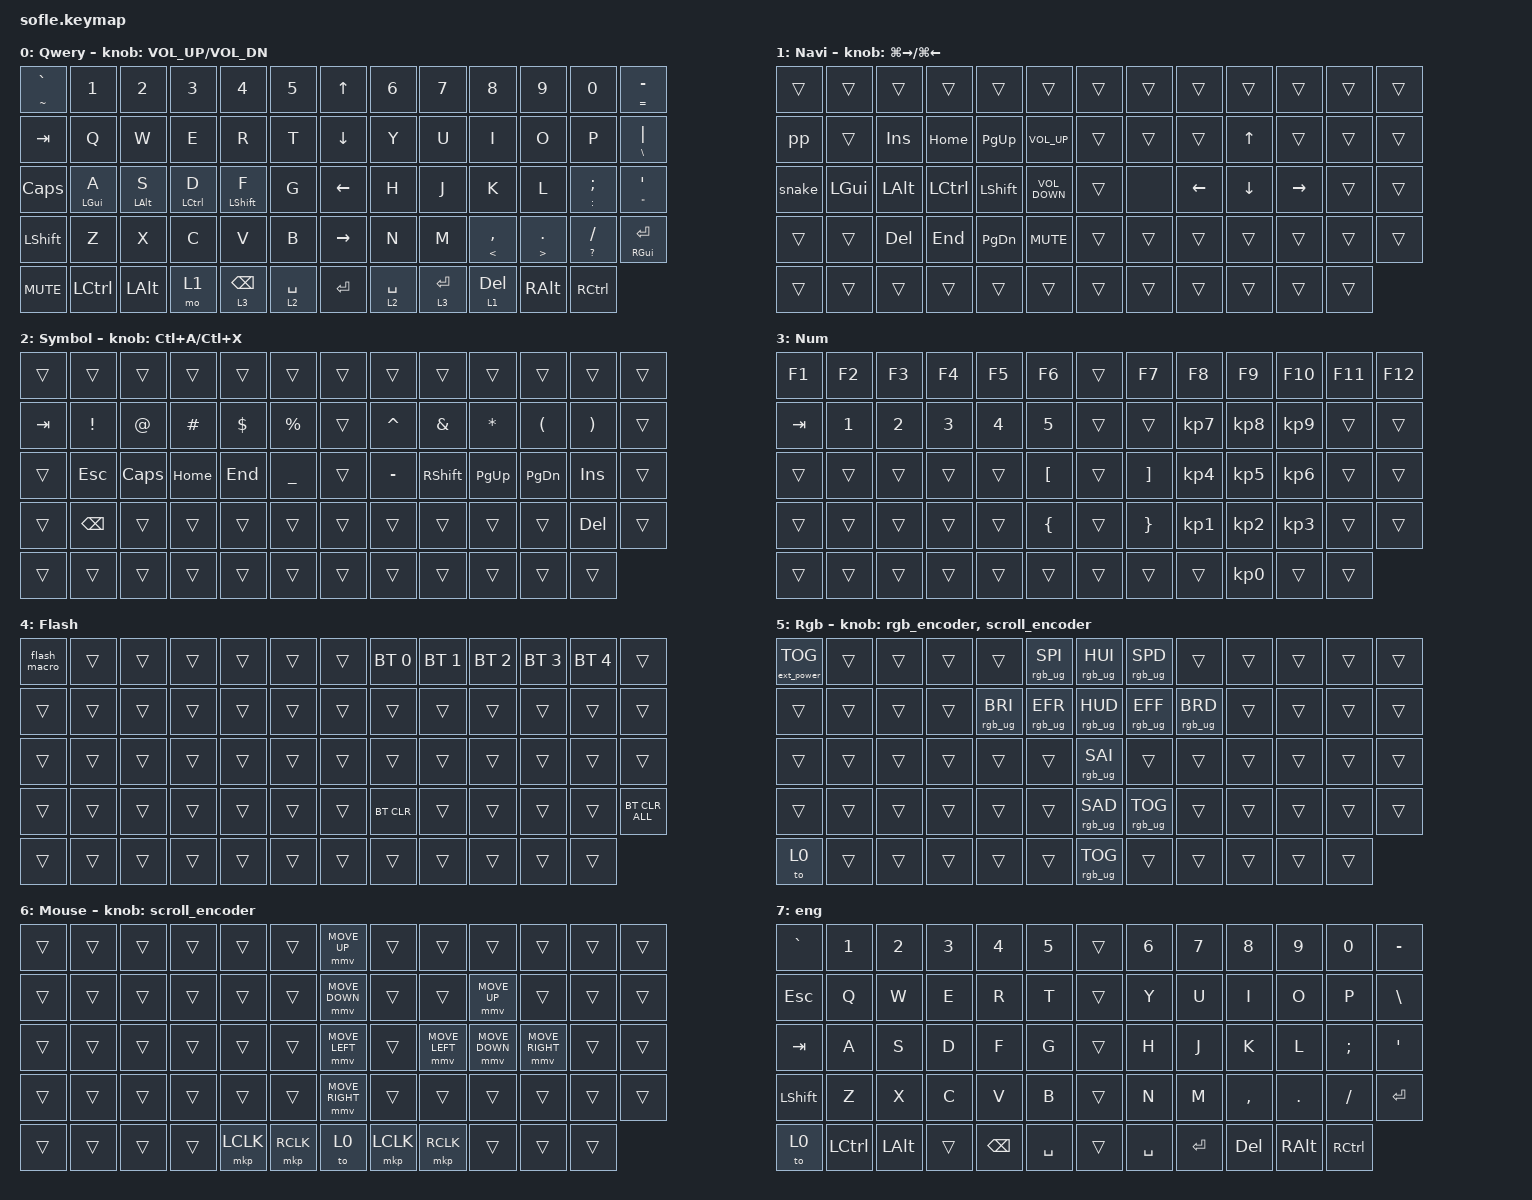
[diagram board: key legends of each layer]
#define ZMK_MOUSE_DEFAULT_SCRL_VAL 35 // 10

#include <behaviors/mouse_keys.dtsi>
#include <behaviors.dtsi>
#include <dt-bindings/zmk/bt.h>
#include <dt-bindings/zmk/ext_power.h>
#include <dt-bindings/zmk/keys.h>
#include <dt-bindings/zmk/mouse.h>
#include <dt-bindings/zmk/rgb.h>

&msc {
    acceleration-exponent = <0>;      // 0
    time-to-max-speed-ms = <0>;       // 300
    delay-ms = <0>;                   // 0
};

&mmv {
    time-to-max-speed-ms = <400>;
    acceleration-exponent = <1>;
};

/ {
    macros {
        flash_macro: flash_macro {
            compatible = "zmk,behavior-macro";
            #binding-cells = <0>;
            bindings = <&bootloader>;
        };

        pp: pp {
            compatible = "zmk,behavior-macro";
            #binding-cells = <0>;
            bindings = <&none &kp LS(P) &kp A &kp DLLR &kp DLLR &kp W &kp N0 &kp R &kp D &kp N3 &kp N4 &kp N5 &kp N6 &kp RET>;
            label = "PP";
        };

        snake: snake {
            compatible = "zmk,behavior-macro";
            #binding-cells = <0>;
            bindings = <&none &kp G &kp K &kp N6 &kp S &kp M &kp N3 &kp J &kp SEMI &kp N6 &kp RET>;
            label = "SNAKE";
        };

        caleft: caleft {
            compatible = "zmk,behavior-macro";
            #binding-cells = <0>;
            bindings = <&kp LC(LA(LEFT))>;
            label = "CALEFT";
        };

        caright: caright {
            compatible = "zmk,behavior-macro";
            #binding-cells = <0>;
            bindings = <&kp LC(LA(RIGHT))>;
            label = "CARIGHT";
        };

        sworkspaceright: sworkspaceright {
            compatible = "zmk,behavior-macro";
            #binding-cells = <0>;
            bindings = <&kp LG(RIGHT)>;
            label = "SWORKSPACERIGHT";
        };

        sworkspaceleft: sworkspaceleft {
            compatible = "zmk,behavior-macro";
            #binding-cells = <0>;
            bindings = <&kp LG(LEFT)>;
            label = "SWORKSPACELEFT";
        };
    };

    behaviors {
        hm: homerow_mods {
            compatible = "zmk,behavior-hold-tap";
            label = "HOMEROW_MODS";
            bindings = <&kp>, <&kp>;

            #binding-cells = <2>;
            tapping-term-ms = <250>;
            quick-tap-ms = <100>;
            flavor = "tap-preferred";
            require-prior-idle-ms = <100>;
        };

        ltq: ltq {
            compatible = "zmk,behavior-hold-tap";
            label = "LTQ";
            bindings = <&mo>, <&kp>;

            #binding-cells = <2>;
            tapping-term-ms = <200>;
            quick-tap-ms = <100>;
            require-prior-idle-ms = <100>;
        };

        as: auto_shift {
            compatible = "zmk,behavior-hold-tap";
            label = "AUTO_SHIFT";
            bindings = <&kp>, <&kp>;

            #binding-cells = <2>;
            tapping-term-ms = <180>;
            quick-tap-ms = <50>;
            require-prior-idle-ms = <200>;
            flavor = "tap-preferred";
        };

        rgb_encoder: rgb_encoder {
            compatible = "zmk,behavior-sensor-rotate";
            label = "RGB_ENCODER";
            #sensor-binding-cells = <0>;
            bindings = <&rgb_ug RGB_BRI>, <&rgb_ug RGB_BRD>;
        };

        scroll_encoder: scroll_encoder {
            compatible = "zmk,behavior-sensor-rotate";
            #sensor-binding-cells = <0>;
            bindings = <&msc SCRL_UP>, <&msc SCRL_DOWN>;

            tap-ms = <30>;
        };
    };

    combos {
        compatible = "zmk,combos";

        esc {
            bindings = <&kp ESCAPE>;
            key-positions = <0 1>;
        };

        paste {
            bindings = <&kp LS(INSERT)>;
            key-positions = <42 43>;
        };

        copy {
            bindings = <&kp LC(C)>;
            key-positions = <42 41>;
        };

        ctrl+alt+right {
            bindings = <&caright>;
            key-positions = <35 36>;
        };

        ctrl+alt+left {
            bindings = <&caleft>;
            key-positions = <35 34>;
        };

        RGB {
            bindings = <&to 5>;
            key-positions = <12 11 10>;
        };

        changetoeng {
            bindings = <&to 7>;
            key-positions = <27 28 29>;
        };

        winright {
            bindings = <&sworkspaceright>;
            key-positions = <35 34 36>;
        };

        winleft {
            bindings = <&sworkspaceleft>;
            key-positions = <35 34 33>;
        };
    };

    keymap {
        compatible = "zmk,keymap";

        Qwery {
            bindings = <
&as TILDE GRAVE  &kp N1          &kp N2          &kp N3              &kp N4            &kp N5          &kp UP_ARROW     &kp N6        &kp N7        &kp N8               &kp N9                   &kp N0               &as EQUAL MINUS
&kp TAB          &kp Q           &kp W           &kp E               &kp R             &kp T           &kp DOWN_ARROW   &kp Y         &kp U         &kp I                &kp O                    &kp P                &as BACKSLASH PIPE
&kp CAPSLOCK     &hm LEFT_GUI A  &hm LEFT_ALT S  &hm LEFT_CONTROL D  &hm LEFT_SHIFT F  &kp G           &kp LEFT_ARROW   &kp H         &kp J         &kp K                &kp L                    &as COLON SEMICOLON  &as DOUBLE_QUOTES SQT
&kp LSHFT        &kp Z           &kp X           &kp C               &kp V             &kp B           &kp RIGHT_ARROW  &kp N         &kp M         &as LESS_THAN COMMA  &as GREATER_THAN PERIOD  &as QUESTION SLASH   &hm RIGHT_GUI ENTER
&kp K_MUTE       &kp LCTRL       &kp LALT        &mo 1               &ltq 3 BACKSPACE  &ltq 2 SPACE    &kp ENTER        &ltq 2 SPACE  &ltq 3 ENTER  &ltq 1 DELETE        &kp RALT                 &kp RCTRL
            >;

            sensor-bindings = <&inc_dec_kp C_VOLUME_UP C_VOL_DN>;
            display-name = "Qwery";
        };

        Navi {
            bindings = <
&trans  &trans        &trans        &trans            &trans          &trans               &trans  &trans  &trans          &trans          &trans           &trans  &trans
&pp     &trans        &kp INS       &kp HOME          &kp PAGE_UP     &kp C_VOLUME_UP      &trans  &trans  &trans          &kp UP_ARROW    &trans           &trans  &trans
&snake  &kp LEFT_GUI  &kp LEFT_ALT  &kp LEFT_CONTROL  &kp LEFT_SHIFT  &kp C_VOLUME_DOWN    &trans  &none   &kp LEFT_ARROW  &kp DOWN_ARROW  &kp RIGHT_ARROW  &trans  &trans
&trans  &trans        &kp DEL       &kp END           &kp PAGE_DOWN   &kp K_MUTE           &trans  &trans  &trans          &trans          &trans           &trans  &trans
&trans  &trans        &trans        &trans            &trans          &trans               &trans  &trans  &trans          &trans          &trans           &trans
            >;

            label = "Navi";
            sensor-bindings = <&inc_dec_kp LG(RIGHT) LG(LEFT_ARROW)>;
        };

        Symbol {
            bindings = <
&trans   &trans           &trans        &trans    &trans      &trans            &trans  &trans     &trans           &trans        &trans                &trans                 &trans
&kp TAB  &kp EXCLAMATION  &kp AT_SIGN   &kp HASH  &kp DOLLAR  &kp PERCENT       &trans  &kp CARET  &kp AMPERSAND    &kp ASTERISK  &kp LEFT_PARENTHESIS  &kp RIGHT_PARENTHESIS  &trans
&trans   &kp ESCAPE       &kp CAPSLOCK  &kp HOME  &kp END     &kp UNDERSCORE    &trans  &kp MINUS  &kp RIGHT_SHIFT  &kp PAGE_UP   &kp PAGE_DOWN         &kp INSERT             &trans
&trans   &kp BACKSPACE    &trans        &trans    &trans      &trans            &trans  &trans     &trans           &trans        &trans                &kp DELETE             &trans
&trans   &trans           &trans        &trans    &trans      &trans            &trans  &trans     &trans           &trans        &trans                &trans
            >;

            label = "Symbol";
            sensor-bindings = <&inc_dec_kp LC(A) LC(X)>;
        };

        Num {
            bindings = <
&kp F1   &kp F2        &kp F3        &kp F4  &kp F5  &kp F6            &trans  &kp F7           &kp F8           &kp F9           &kp F10          &kp F11  &kp F12
&kp TAB  &kp NUMBER_1  &kp NUMBER_2  &kp N3  &kp N4  &kp N5            &trans  &trans           &kp KP_NUMBER_7  &kp KP_NUMBER_8  &kp KP_NUMBER_9  &trans   &trans
&trans   &trans        &trans        &trans  &trans  &kp LBKT          &trans  &kp RBKT         &kp KP_NUMBER_4  &kp KP_NUMBER_5  &kp KP_NUMBER_6  &trans   &trans
&trans   &trans        &trans        &trans  &trans  &kp LEFT_BRACE    &trans  &kp RIGHT_BRACE  &kp KP_NUMBER_1  &kp KP_NUMBER_2  &kp KP_NUMBER_3  &trans   &trans
&trans   &trans        &trans        &trans  &trans  &trans            &trans  &trans           &trans           &kp KP_NUMBER_0  &trans           &trans
            >;

            label = "Num";
        };

        Flash {
            bindings = <
&flash_macro  &trans  &trans  &trans  &trans  &trans    &trans  &bt BT_SEL 0  &bt BT_SEL 1  &bt BT_SEL 2  &bt BT_SEL 3  &bt BT_SEL 4  &trans
&trans        &trans  &trans  &trans  &trans  &trans    &trans  &trans        &trans        &trans        &trans        &trans        &trans
&trans        &trans  &trans  &trans  &trans  &trans    &trans  &trans        &trans        &trans        &trans        &trans        &trans
&trans        &trans  &trans  &trans  &trans  &trans    &trans  &bt BT_CLR    &trans        &trans        &trans        &trans        &bt BT_CLR_ALL
&trans        &trans  &trans  &trans  &trans  &trans    &trans  &trans        &trans        &trans        &trans        &trans
            >;

            display-name = "Flash";
        };

        Rgb {
            bindings = <
&ext_power EP_TOG  &trans  &trans  &trans  &trans           &rgb_ug RGB_SPI    &rgb_ug RGB_HUI  &rgb_ug RGB_SPD  &trans           &trans  &trans  &trans  &trans
&trans             &trans  &trans  &trans  &rgb_ug RGB_BRI  &rgb_ug RGB_EFR    &rgb_ug RGB_HUD  &rgb_ug RGB_EFF  &rgb_ug RGB_BRD  &trans  &trans  &trans  &trans
&trans             &trans  &trans  &trans  &trans           &trans             &rgb_ug RGB_SAI  &trans           &trans           &trans  &trans  &trans  &trans
&trans             &trans  &trans  &trans  &trans           &trans             &rgb_ug RGB_SAD  &rgb_ug RGB_TOG  &trans           &trans  &trans  &trans  &trans
&to 0              &trans  &trans  &trans  &trans           &trans             &rgb_ug RGB_TOG  &trans           &trans           &trans  &trans  &trans
            >;

            label = "Rgb";
            sensor-bindings = <&rgb_encoder &scroll_encoder>;
        };

        Mouse {
            bindings = <
&trans  &trans  &trans  &trans  &trans     &trans       &mmv MOVE_UP     &trans     &trans          &trans          &trans           &trans  &trans
&trans  &trans  &trans  &trans  &trans     &trans       &mmv MOVE_DOWN   &trans     &trans          &mmv MOVE_UP    &trans           &trans  &trans
&trans  &trans  &trans  &trans  &trans     &trans       &mmv MOVE_LEFT   &trans     &mmv MOVE_LEFT  &mmv MOVE_DOWN  &mmv MOVE_RIGHT  &trans  &trans
&trans  &trans  &trans  &trans  &trans     &trans       &mmv MOVE_RIGHT  &trans     &trans          &trans          &trans           &trans  &trans
&trans  &trans  &trans  &trans  &mkp LCLK  &mkp RCLK    &to 0            &mkp LCLK  &mkp RCLK       &trans          &trans           &trans
            >;

            label = "Mouse";
            sensor-bindings = <&scroll_encoder>;
        };

        onlyeng {
            bindings = <
&kp GRAVE  &kp N1     &kp N2    &kp N3  &kp N4    &kp N5       &trans  &kp N6     &kp N7   &kp N8     &kp N9    &kp N0     &kp MINUS
&kp ESC    &kp Q      &kp W     &kp E   &kp R     &kp T        &trans  &kp Y      &kp U    &kp I      &kp O     &kp P      &kp BSLH
&kp TAB    &kp A      &kp S     &kp D   &kp F     &kp G        &trans  &kp H      &kp J    &kp K      &kp L     &kp SEMI   &kp SQT
&kp LSHFT  &kp Z      &kp X     &kp C   &kp V     &kp B        &trans  &kp N      &kp M    &kp COMMA  &kp DOT   &kp FSLH   &kp RET
&to 0      &kp LCTRL  &kp LALT  &trans  &kp BSPC  &kp SPACE    &trans  &kp SPACE  &kp RET  &kp DEL    &kp RALT  &kp RCTRL
            >;

            label = "eng";
        };
    };

    conditional_layers {
        compatible = "zmk,conditional-layers";

        Flash {
            if-layers = <2 3>;
            then-layer = <4>;
        };
    };
};
